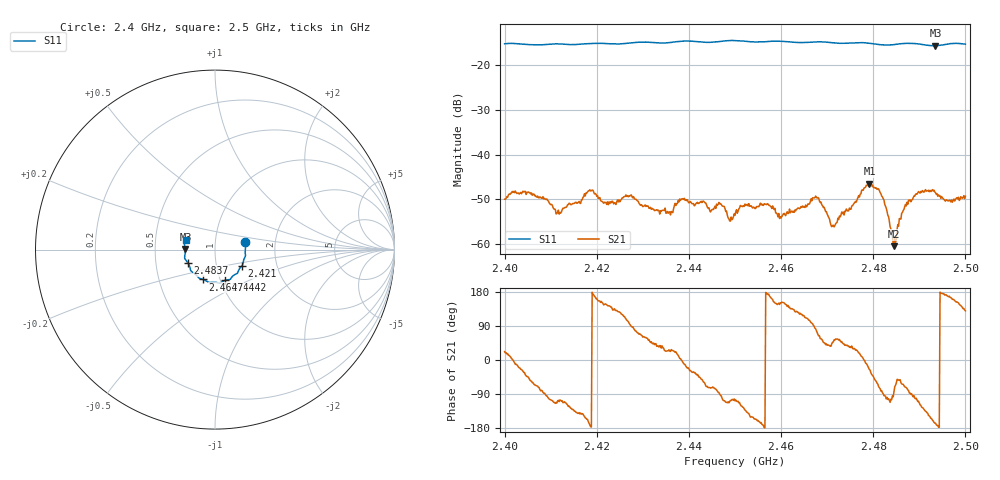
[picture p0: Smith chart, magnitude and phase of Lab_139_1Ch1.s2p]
# Hz S RI R 50
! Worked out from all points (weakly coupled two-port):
!   601 points, 2.4 GHz to 2.5 GHz, reference 50 ohm
!   highest |S21| = -46.44 dB at 2.4792 GHz (marker M1); lowest = -60.4 dB at 2.4845 GHz (marker M2)
!   lowest |S11| = -15.6 dB at 2.4935 GHz (marker M3), VSWR 1.40, Z = 35.8 + j0.203 ohm
!   |S11| at or under -10 dB: start of sweep to end of sweep
!   S12 and S22 are empty: the file has one direction only
!   S11 on the Smith chart (normalised r, x): 2.4 GHz: 1.40, +0.12; 2.421 GHz: 1.33, -0.24; 2.4442 GHz: 1.05, -0.37; 2.4647 GHz: 0.83, -0.28; 2.4837 GHz: 0.73, -0.11; 2.5 GHz: 0.72, +0.08
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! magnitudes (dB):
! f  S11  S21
! 2.4 GHz  -15.2  -49.9
! 2.4053 GHz  -15.4  -48.5
! 2.4117 GHz  -15.2  -52.4
! 2.4167 GHz  -15.3  -50.1
! 2.4187 GHz  -15.1  -48.1
! 2.421 GHz  -15.1  -50.4
! 2.4272 GHz  -15.1  -49.3
! 2.4333 GHz  -15.0  -52.4
! 2.4385 GHz  -14.6  -49.9
! 2.4442 GHz  -14.9  -52.0
! 2.45 GHz  -14.5  -53.5
! 2.4647 GHz  -14.9  -51.5
! 2.4667 GHz  -14.8  -50.3
! 2.4713 GHz  -15.0  -55.8
! 2.4792 GHz  -15.1  -46.4
! 2.4815 GHz  -15.4  -48.4
! 2.4833 GHz  -15.5  -53.8
! 2.4837 GHz  -15.5  -56.1
! 2.4845 GHz  -15.4  -60.4
! 2.4875 GHz  -15.1  -51.1
! 2.4935 GHz  -15.6  -48.4
! 2.5 GHz  -15.3  -49.3
